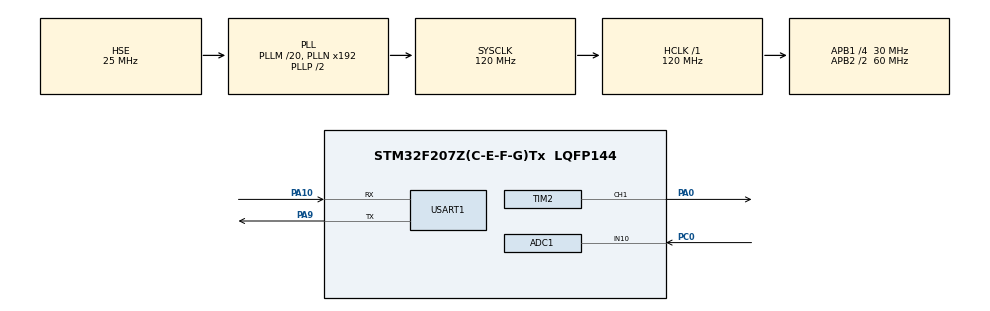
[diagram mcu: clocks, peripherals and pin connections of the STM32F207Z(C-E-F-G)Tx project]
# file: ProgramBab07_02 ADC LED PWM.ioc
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ADC1.Channel-0\#ChannelRegularConversion=ADC_CHANNEL_10
ADC1.NbrOfConversionFlag=1
ADC1.Rank-0\#ChannelRegularConversion=1
ADC1.SamplingTime-0\#ChannelRegularConversion=ADC_SAMPLETIME_3CYCLES
ADC1.master=1
Mcu.Family=STM32F2
Mcu.Name=STM32F207Z(C-E-F-G)Tx
Mcu.Package=LQFP144
NVIC.PriorityGroup=NVIC_PRIORITYGROUP_4
PA0-WKUP.Signal=S_TIM2_CH1_ETR
PA10.Mode=Asynchronous
PA10.Signal=USART1_RX
PA9.Mode=Asynchronous
PA9.Signal=USART1_TX
PC0.Signal=ADCx_IN10
PH0-OSC_IN.Mode=HSE-External-Oscillator
PH0-OSC_IN.Signal=RCC_OSC_IN
PH1-OSC_OUT.Mode=HSE-External-Oscillator
PH1-OSC_OUT.Signal=RCC_OSC_OUT
ProjectManager.HeapSize=0x200
ProjectManager.StackSize=0x400
ProjectManager.TargetToolchain=STM32CubeIDE
RCC.48MHZClocksFreq_Value=60000000
RCC.AHBFreq_Value=120000000
RCC.APB1CLKDivider=RCC_HCLK_DIV4
RCC.APB1Freq_Value=30000000
RCC.APB1TimFreq_Value=60000000
RCC.APB2CLKDivider=RCC_HCLK_DIV2
RCC.APB2Freq_Value=60000000
RCC.APB2TimFreq_Value=120000000
RCC.CortexFreq_Value=120000000
RCC.HCLKFreq_Value=120000000
RCC.HSE_VALUE=25000000
RCC.HSI_VALUE=16000000
RCC.LSE_VALUE=32768
RCC.PLLM=20
RCC.PLLSourceVirtual=RCC_PLLSOURCE_HSE
RCC.SYSCLKFreq_VALUE=120000000
RCC.SYSCLKSource=RCC_SYSCLKSOURCE_PLLCLK
RCC.VCOOutputFreq_Value=240000000
SH.ADCx_IN10.0=ADC1_IN10,IN10
SH.S_TIM2_CH1_ETR.0=TIM2_CH1,PWM Generation1 CH1
TIM2.Channel-PWM\ Generation1\ CH1=TIM_CHANNEL_1
TIM2.Period=2499
TIM2.Prescaler=59
TIM2.Pulse-PWM\ Generation1\ CH1=1249
USART1.VirtualMode=VM_ASYNC
board=custom

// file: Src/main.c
/* USER CODE BEGIN Header */
/**
  ******************************************************************************
  * @file           : main.c
  * @brief          : Main program body
  ******************************************************************************
  * @attention
  *
  * <h2><center>&copy; Copyright (c) 2019 STMicroelectronics.
  * All rights reserved.</center></h2>
  *
  * This software component is licensed by ST under BSD 3-Clause license,
  * the "License"; You may not use this file except in compliance with the
  * License. You may obtain a copy of the License at:
  *                        opensource.org/licenses/BSD-3-Clause
  *
  ******************************************************************************
  */
/* USER CODE END Header */

#include "main.h"
#include "adc.h"
#include "tim.h"
#include "usart.h"
#include "gpio.h"

/* USER CODE BEGIN Includes */
#include <stdio.h>
/* USER CODE END Includes */

/* USER CODE BEGIN PV */
__IO uint16_t uhADCxConvertedValue = 0;
uint16_t dutycycle,addvalue;
TIM_OC_InitTypeDef sConfigOC;
uint8_t mode;

/* USER CODE END PV */

void SystemClock_Config(void);

int main(void)
{

  /* MCU Configuration--------------------------------------------------------*/

  /* Reset of all peripherals, Initializes the Flash interface and the Systick. */
  HAL_Init();

  /* Configure the system clock */
  SystemClock_Config();

  /* Initialize all configured peripherals */
  MX_GPIO_Init();
  MX_ADC1_Init();
  MX_TIM2_Init();
  MX_USART1_UART_Init();
  /* USER CODE BEGIN 2 */
  sConfigOC.OCMode = TIM_OCMODE_PWM1;
  sConfigOC.OCPolarity = TIM_OCPOLARITY_HIGH;
  sConfigOC.OCFastMode = TIM_OCFAST_DISABLE;

  /* USER CODE END 2 */

  /* Infinite loop */
  while (1)
  {

    /* USER CODE BEGIN 3 */
	  if (HAL_ADC_Start(&hadc1)!=HAL_OK)
	  {
		  Error_Handler();
	  }

	  //Poll ADC, wait until conversion finish
	  HAL_ADC_PollForConversion(&hadc1, 10);
	  if((HAL_ADC_GetState(&hadc1) & HAL_ADC_STATE_EOC_REG) == HAL_ADC_STATE_EOC_REG)
	  {
	      //Read ADC Value
		  uhADCxConvertedValue = HAL_ADC_GetValue(&hadc1);
	  }

	  //Convert to dutycycle
      dutycycle = (uhADCxConvertedValue *100)/4095;
      printf("Dutycycle %d\r\n",dutycycle);
      sConfigOC.Pulse = (2499 * dutycycle)/100;
	  if (HAL_TIM_PWM_ConfigChannel(&htim2, &sConfigOC, TIM_CHANNEL_1) != HAL_OK)
	  {
	    Error_Handler();
	  }

	  if (HAL_TIM_PWM_Start(&htim2, TIM_CHANNEL_1) != HAL_OK)
	  {
	    /* PWM Generation Error */
	    Error_Handler();
	  }
	  HAL_Delay(100);

  }
  /* USER CODE END 3 */
}

void SystemClock_Config(void)
{
  RCC_OscInitTypeDef RCC_OscInitStruct = {0};
  RCC_ClkInitTypeDef RCC_ClkInitStruct = {0};

  /** Initializes the CPU, AHB and APB busses clocks
  */
  RCC_OscInitStruct.OscillatorType = RCC_OSCILLATORTYPE_HSE;
  RCC_OscInitStruct.HSEState = RCC_HSE_ON;
  RCC_OscInitStruct.PLL.PLLState = RCC_PLL_ON;
  RCC_OscInitStruct.PLL.PLLSource = RCC_PLLSOURCE_HSE;
  RCC_OscInitStruct.PLL.PLLM = 20;
  RCC_OscInitStruct.PLL.PLLN = 192;
  RCC_OscInitStruct.PLL.PLLP = RCC_PLLP_DIV2;
  RCC_OscInitStruct.PLL.PLLQ = 4;
  if (HAL_RCC_OscConfig(&RCC_OscInitStruct) != HAL_OK)
  {
    Error_Handler();
  }
  /** Initializes the CPU, AHB and APB busses clocks
  */
  RCC_ClkInitStruct.ClockType = RCC_CLOCKTYPE_HCLK|RCC_CLOCKTYPE_SYSCLK
                              |RCC_CLOCKTYPE_PCLK1|RCC_CLOCKTYPE_PCLK2;
  RCC_ClkInitStruct.SYSCLKSource = RCC_SYSCLKSOURCE_PLLCLK;
  RCC_ClkInitStruct.AHBCLKDivider = RCC_SYSCLK_DIV1;
  RCC_ClkInitStruct.APB1CLKDivider = RCC_HCLK_DIV4;
  RCC_ClkInitStruct.APB2CLKDivider = RCC_HCLK_DIV2;

  if (HAL_RCC_ClockConfig(&RCC_ClkInitStruct, FLASH_LATENCY_3) != HAL_OK)
  {
    Error_Handler();
  }
}

void Error_Handler(void)
{
}

/************************ (C) COPYRIGHT STMicroelectronics *****END OF FILE****/
